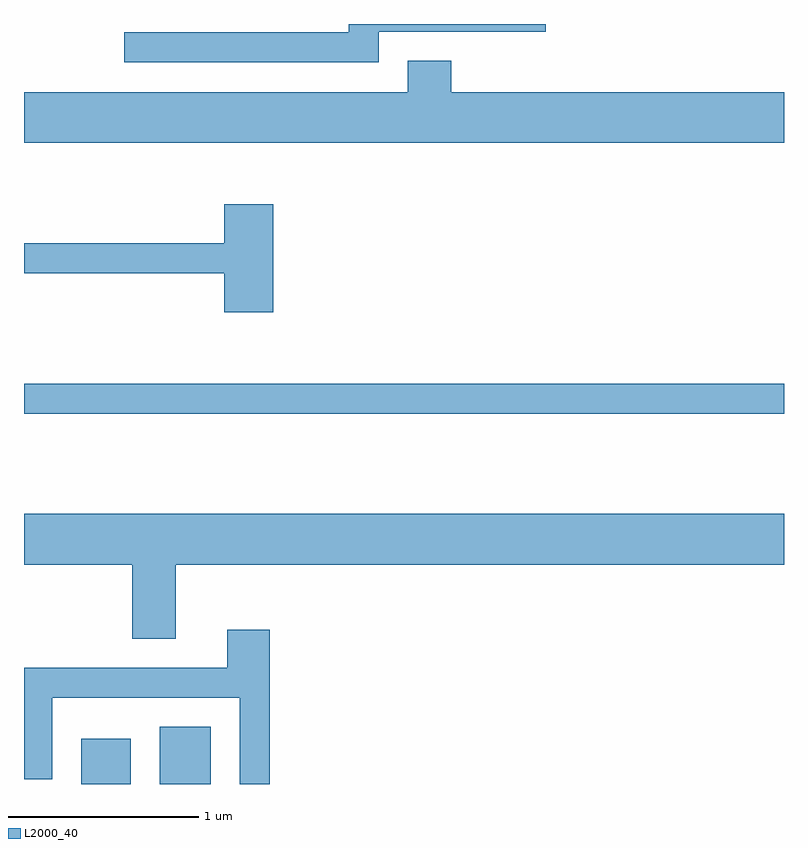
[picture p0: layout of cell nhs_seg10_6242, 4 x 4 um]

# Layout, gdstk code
import gdstk
lib = gdstk.Library(unit=1e-6, precision=1e-09)
def R(c, l, rs):  # rectangles x0, y0, x1, y1
    for r in rs: c.add(gdstk.rectangle(r[:2], r[2:], *l))
def P(c, l, *ps):  # polygons
    for p in ps: c.add(gdstk.Polygon(p, *l))
L2000_40 = (2000, 40)

nhs_seg10_6242 = lib.new_cell('nhs_seg10_6242')
R(nhs_seg10_6242, L2000_40, [(369.911,2130.522,370.174,2130.759), (370.326,2130.522,370.594,2130.824), (369.611,2132.471,373.611,2132.629)])
P(nhs_seg10_6242, L2000_40, [(371.479,2134.481),(372.358,2134.481),(372.358,2134.522),(371.321,2134.522),(371.321,2134.479),(370.138,2134.479),(370.138,2134.321),(371.479,2134.321)],
  [(373.611,2134.164),(371.859,2134.164),(371.859,2134.329),(371.631,2134.329),(371.631,2134.164),(369.611,2134.164),(369.611,2133.896),(373.611,2133.896)],
  [(370.924,2133.574),(370.666,2133.574),(370.666,2133.369),(369.611,2133.369),(369.611,2133.211),(370.666,2133.211),(370.666,2133.006),(370.924,2133.006)],
  [(370.409,2131.676),(373.611,2131.676),(373.611,2131.944),(369.611,2131.944),(369.611,2131.676),(370.181,2131.676),(370.181,2131.286),(370.409,2131.286)],
  [(370.904,2131.334),(370.681,2131.334),(370.681,2131.134),(369.611,2131.134),(369.611,2130.548),(369.759,2130.548),(369.759,2130.976),(370.746,2130.976),(370.746,2130.522),(370.904,2130.522)])

lib.write_gds('nhs_seg10_6242.gds')
